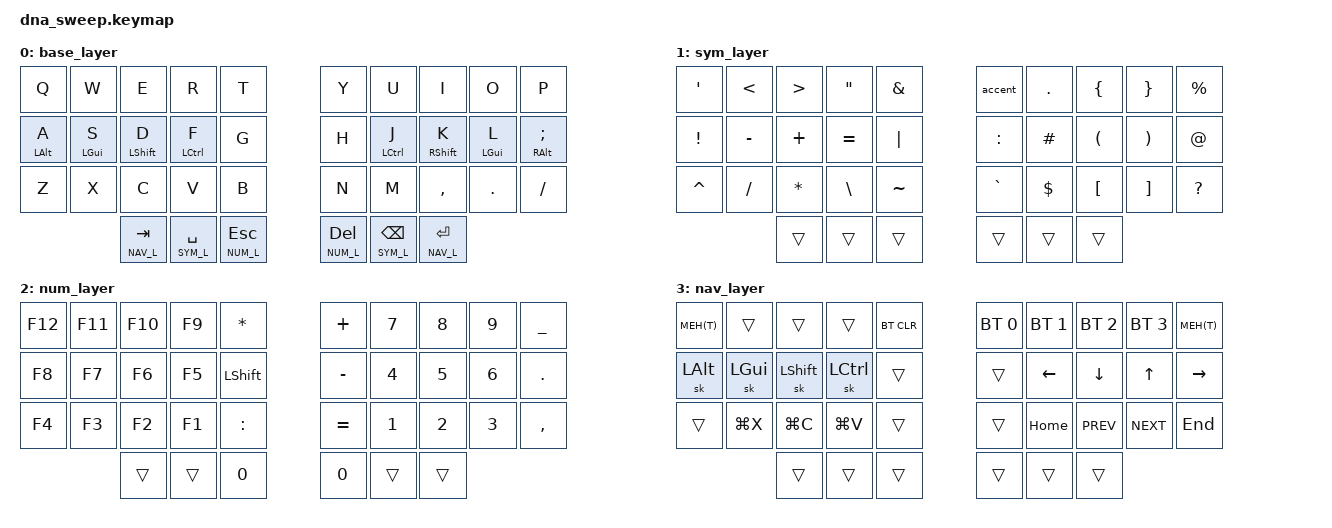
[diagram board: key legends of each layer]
/*
 * Copyright (c) 2021 The ZMK Contributors
 *
 * SPDX-License-Identifier: MIT
 */

#include <behaviors.dtsi>
#include <dt-bindings/zmk/bt.h>
#include <dt-bindings/zmk/keys.h>

&sk {
    release-after-ms = <750>;
    quick-release;
};

&caps_word {
    continue-list = <UNDERSCORE MINUS BSPC>;
};

#define BASE_L  0
#define SYM_L   1
#define NUM_L   2
#define NAV_L   3

#define CUT   LG(X)
#define COPY  LG(C)
#define PASTE LG(V)

#define MEH(KEY) LS(LC(LA(LG(KEY))))

/ {
    macros {
        ZMK_MACRO(scope, wait-ms = <30>; tap-ms = <30>; bindings = <&kp COLON &kp COLON>;)
        ZMK_MACRO(accent, wait-ms = <30>; tap-ms = <30>; bindings = <&macro_press &kp LALT>, <&macro_tap &kp E>, <&macro_release &kp LALT>;)
    };

    combos {
        compatible = "zmk,combos";

        #define COMBO(NAME, BINDINGS, KEYPOS, TIMEOUT) \
              combo_##NAME { \
                timeout-ms = <TIMEOUT>; \
                bindings = <BINDINGS>; \
                key-positions = <KEYPOS>; \
              };

        /*                KEY POSITIONS

          ╭────────────────────╮ ╭────────────────────╮
          │  0   1   2   3   4 │ │  5   6   7   8   9 │
          │ 10  11  12  13  14 │ │ 15  16  17  18  19 │
          │ 20  21  22  23  24 │ │ 25  26  27  28  29 │
          ╰───────╮ 30  31  32 │ │ 33  34  35 ╭───────╯
                  ╰────────────╯ ╰────────────╯        */

        COMBO(caps_word_left, &caps_word, 13 14, 60)
        COMBO(caps_word_right, &caps_word, 15 16, 60)

        COMBO(colon, &kp COLON, 7 8, 60)
        COMBO(equal, &kp EQUAL, 21 22, 60)
        COMBO(semicolon, &kp SEMI, 27 28, 60)

        COMBO(minus, &kp MINUS, 31 34, 60)
        COMBO(underscore, &kp UNDER, 32 33, 60)
    };

    behaviors {
        lhm: left_hand_positional_hold_tap {
            compatible = "zmk,behavior-hold-tap";
            label = "LEFT_POSITIONAL_HOLD_TAP";
            #binding-cells = <2>;
            flavor = "tap-preferred";
            tapping-term-ms = <200>;
            quick-tap-ms = <200>;
            bindings = <&kp>, <&kp>;
            // hold-trigger-key-positions = <5 6 7 8 9 15 16 17 18 19 25 26 27 28 29 30 31 32 33 34 35>;
            hold-trigger-key-positions = <5 6 7 8 9 10 11 12 13 15 16 17 18 19 25 26 27 28 29 30 31 32 33 34 35>;
        };

        rhm: right_hand_positional_hold_tap {
            compatible = "zmk,behavior-hold-tap";
            label = "RIGHT_POSITIONAL_HOLD_TAP";
            #binding-cells = <2>;
            flavor = "tap-preferred";
            tapping-term-ms = <200>;
            quick-tap-ms = <200>;
            bindings = <&kp>, <&kp>;
            // hold-trigger-key-positions = <0 1 2 3 4 10 11 12 13 14 20 21 22 23 24 30 31 32 33 34 35>;
            hold-trigger-key-positions = <0 1 2 3 4 10 11 12 13 14 16 17 18 19 20 21 22 23 24 30 31 32 33 34 35>;
        };

        base_lt: base_layer_hold_tap {
            compatible = "zmk,behavior-hold-tap";
            label = "BASE_LAYER_HOLD_TAP";
            #binding-cells = <2>;
            flavor = "tap-preferred";
            tapping-term-ms = <200>;
            quick-tap-ms = <200>;
            bindings = <&mo>, <&kp>;
        };

        rpt_lt: repeat_hold_tap {
            compatible = "zmk,behavior-hold-tap";
            label = "REPEAT_HOLD_TAP";
            #binding-cells = <2>;
            flavor = "tap-preferred";
            tapping-term-ms = <200>;
            quick-tap-ms = <200>;
            global-quick-tap;
            bindings = <&mo>, <&key_repeat>;
        };
    };

	keymap {
		compatible = "zmk,keymap";

		base_layer {
			bindings = <
                   &kp Q        &kp W         &kp E              &kp R              &kp T              &kp Y              &kp U               &kp I                 &kp O         &kp P
                   &lhm LALT A  &lhm LGUI S   &lhm LSHFT D       &lhm LCTRL F       &kp G              &kp H              &rhm LCTRL J        &rhm RSHFT K          &rhm LGUI L   &rhm RALT SEMI
                   &kp Z        &kp X         &kp C              &kp V              &kp B              &kp N              &kp M               &kp COMMA             &kp DOT       &kp FSLH
				 /*&            &*/           &base_lt NAV_L TAB &base_lt SYM_L SPC &base_lt NUM_L ESC &base_lt NUM_L DEL &base_lt SYM_L BSPC &base_lt NAV_L RET  /*&             &*/
			>;
		};

		sym_layer {
			bindings = <
                   &kp APOS     &kp LT        &kp GT        &kp DQT            &kp AMPS           &accent             &kp DOT          &kp LBRC                 &kp RBRC      &kp PRCNT
                   &kp EXCL     &kp MINUS     &kp PLUS      &kp EQUAL          &kp PIPE           &kp COLON           &kp HASH         &kp LPAR                 &kp RPAR      &kp AT
                   &kp CARET    &kp FSLH      &kp STAR      &kp BSLH           &kp TILDE          &kp GRAVE           &kp DLLR         &kp LBKT                 &kp RBKT      &kp QMARK
				 /*&            &*/           &trans        &trans             &trans             &trans              &trans           &trans                 /*&             &*/
			>;
		};

		num_layer {
			bindings = <
                   &kp F12     &kp F11        &kp F10        &kp F9             &kp STAR           &kp PLUS            &kp N7           &kp N8                 &kp N9        &kp UNDER
                   &kp F8      &kp F7         &kp F6         &kp F5             &kp LSHFT          &kp MINUS           &kp N4           &kp N5                 &kp N6        &kp DOT
                   &kp F4      &kp F3         &kp F2         &kp F1             &kp COLON          &kp EQUAL           &kp N1           &kp N2                 &kp N3        &kp COMMA
				 /*&            &*/           &trans        &trans             &kp N0             &kp N0              &trans           &trans                 /*&             &*/
			>;
		};

		nav_layer {
			bindings = <
                   &kp MEH(T)   &trans        &trans        &trans             &bt BT_CLR         &bt BT_SEL 0        &bt BT_SEL 1     &bt BT_SEL 2             &bt BT_SEL 3        &kp MEH(T)
                   &sk LALT     &sk LGUI      &sk LSHFT     &sk LCTRL          &trans             &trans              &kp LEFT         &kp DOWN                 &kp UP        &kp RIGHT
                   &trans       &kp CUT       &kp COPY      &kp PASTE          &trans             &trans              &kp HOME         &kp K_PREV               &kp K_NEXT    &kp END
				 /*&            &*/           &trans        &trans             &trans             &trans              &trans           &trans             /*&             &*/
			>;
		};
	};
};
